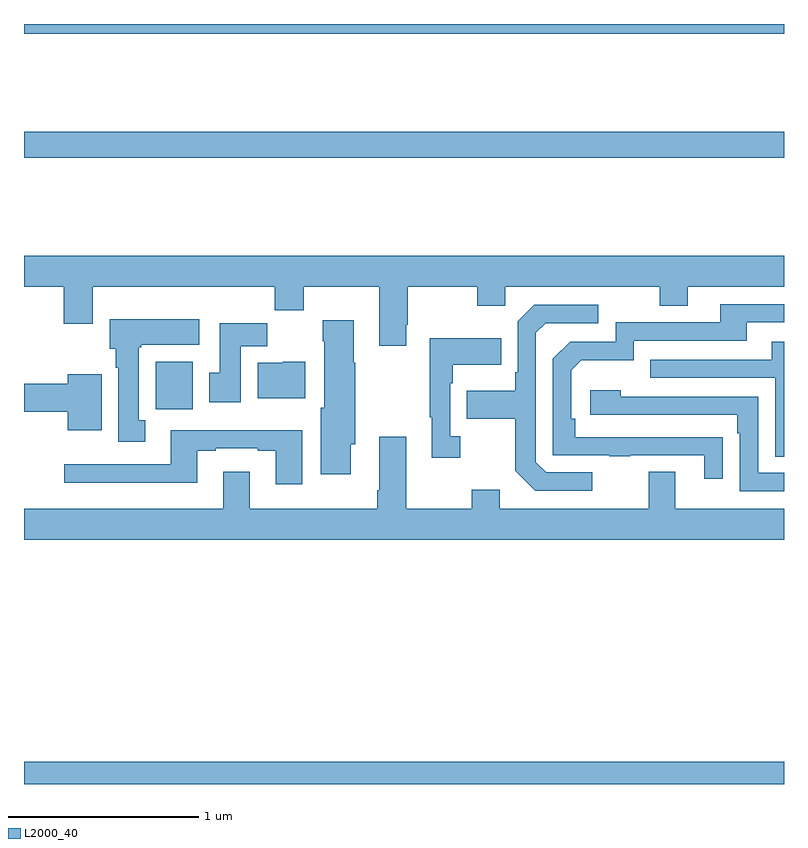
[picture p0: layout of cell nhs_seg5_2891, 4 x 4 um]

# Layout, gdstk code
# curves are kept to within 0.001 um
import gdstk
lib = gdstk.Library(unit=1e-6, precision=1e-09)
def R(c, l, rs):  # rectangles x0, y0, x1, y1
    for r in rs: c.add(gdstk.rectangle(r[:2], r[2:], *l))
def P(c, l, *ps):  # polygons
    for p in ps: c.add(gdstk.Polygon(p, *l))
L2000_40 = (2000, 40)

nhs_seg5_2891 = lib.new_cell('nhs_seg5_2891')
R(nhs_seg5_2891, L2000_40, [(279,864.799,283,864.916), (279.693,866.772,279.889,867.022), (279,868.096,283,868.232), (279,868.748,283,868.799)])
P(nhs_seg5_2891, L2000_40, [(281.011,867.217),(281.019,867.217),(281.019,867.416),(281.386,867.416),(281.386,867.317),(281.532,867.317),(281.532,867.416),(282.346,867.416),(282.346,867.317),(282.493,867.317),(282.493,867.416),(283,867.416),(283,867.58),(279,867.58),(279,867.416),(279.209,867.416),(279.209,867.222),(279.361,867.222),(279.361,867.416),(280.321,867.416),(280.321,867.292),(280.473,867.292),(280.473,867.416),(280.871,867.416),(280.871,867.105),(281.011,867.105)],
  [(282.677,866.624),(281.9,866.625),(281.9,866.722),(281.88,866.722),(281.88,866.976),(281.933,867.029),(282.21,867.029),(282.21,867.132),(282.805,867.132),(282.805,867.228),(283,867.228),(283,867.324),(282.665,867.324),(282.665,867.228),(282.114,867.228),(282.114,867.126),(281.874,867.126),(281.784,867.036),(281.784,866.529),(282.079,866.529),(282.079,866.524),(282.191,866.524),(282.191,866.529),(282.581,866.529),(282.581,866.406),(282.677,866.406)],
  [(281.992,866.439),(281.748,866.439),(281.694,866.493),(281.694,867.174),(281.745,867.225),(282.022,867.225),(282.022,867.321),(281.685,867.321),(281.598,867.234),(281.598,866.965),(281.586,866.965),(281.586,866.869),(281.329,866.869),(281.329,866.722),(281.586,866.722),(281.586,866.449),(281.691,866.343),(281.992,866.343)],
  [(279.637,866.713),(279.604,866.713),(279.604,867.097),(279.618,867.097),(279.618,867.11),(279.922,867.11),(279.922,867.244),(279.452,867.244),(279.452,867.09),(279.482,867.09),(279.482,866.99),(279.497,866.99),(279.497,866.601),(279.637,866.601)],
  [(280.72,866.586),(280.743,866.586),(280.743,867.017),(280.735,867.017),(280.735,867.241),(280.573,867.241),(280.573,867.128),(280.58,867.128),(280.58,866.778),(280.562,866.778),(280.562,866.43),(280.72,866.43)],
  [(280.141,867.104),(280.28,867.104),(280.28,867.223),(280.031,867.223),(280.031,866.964),(279.974,866.964),(279.974,866.808),(280.141,866.808)],
  [(281.296,866.63),(281.244,866.63),(281.244,866.909),(281.257,866.909),(281.257,867.005),(281.513,867.005),(281.513,867.145),(281.136,867.145),(281.136,866.729),(281.147,866.729),(281.147,866.517),(281.296,866.517)],
  [(283,867.127),(282.935,867.127),(282.935,867.033),(282.295,867.033),(282.295,866.937),(282.954,866.937),(282.954,866.521),(283,866.521)],
  [(280.48,867.022),(280.362,867.022),(280.362,867.016),(280.229,867.016),(280.229,866.828),(280.48,866.828)],
  [(279.409,866.956),(279.23,866.956),(279.23,866.906),(279,866.906),(279,866.759),(279.23,866.759),(279.23,866.66),(279.409,866.66)],
  [(283,866.436),(282.864,866.436),(282.864,866.838),(282.14,866.838),(282.14,866.872),(281.979,866.872),(281.979,866.742),(282.755,866.742),(282.755,866.645),(282.768,866.645),(282.768,866.34),(283,866.34)],
  [(280.465,866.662),(279.773,866.662),(279.773,866.481),(279.213,866.481),(279.213,866.384),(279.913,866.384),(279.913,866.553),(280.009,866.553),(280.009,866.565),(280.229,866.565),(280.229,866.553),(280.325,866.553),(280.325,866.376),(280.465,866.376)],
  [(283,866.248),(282.427,866.248),(282.427,866.443),(282.287,866.443),(282.287,866.248),(281.503,866.248),(281.503,866.347),(281.356,866.347),(281.356,866.248),(281.011,866.248),(281.011,866.626),(280.871,866.626),(280.871,866.344),(280.859,866.344),(280.859,866.248),(280.189,866.248),(280.189,866.443),(280.049,866.443),(280.049,866.248),(279,866.248),(279,866.084),(283,866.084)])

lib.write_gds('nhs_seg5_2891.gds')
